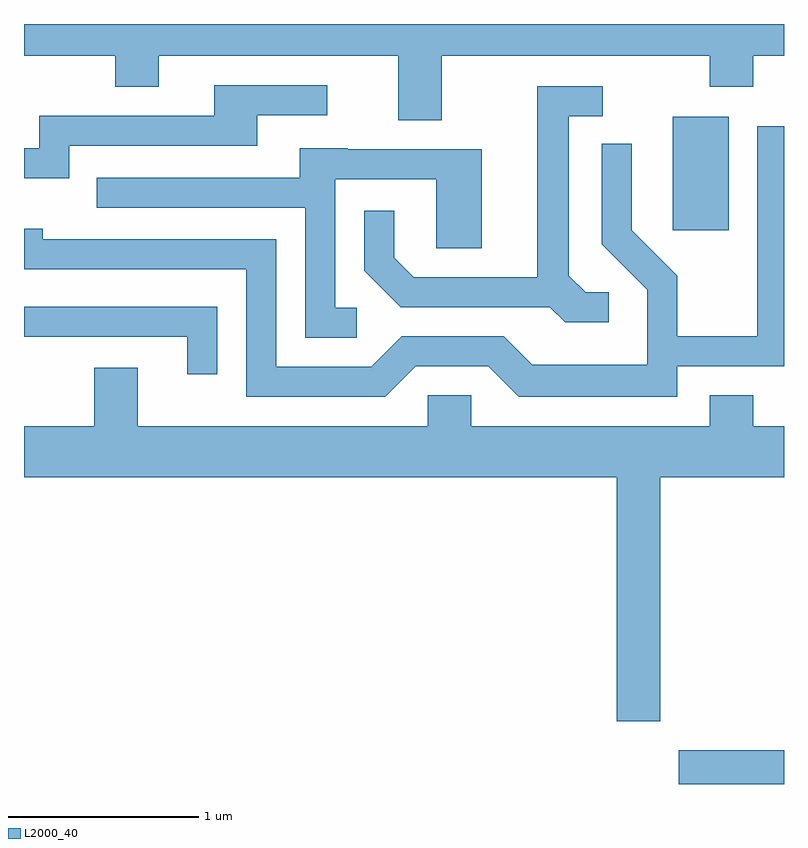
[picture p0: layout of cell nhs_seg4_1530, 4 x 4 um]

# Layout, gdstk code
import gdstk
lib = gdstk.Library(unit=1e-6, precision=1e-09)
def R(c, l, rs):  # rectangles x0, y0, x1, y1
    for r in rs: c.add(gdstk.rectangle(r[:2], r[2:], *l))
def P(c, l, *ps):  # polygons
    for p in ps: c.add(gdstk.Polygon(p, *l))
L2000_40 = (2000, 40)

nhs_seg4_1530 = lib.new_cell('nhs_seg4_1530')
R(nhs_seg4_1530, L2000_40, [(233.056,1321.982,233.611,1322.159), (233.026,1324.896,233.319,1325.494)])
P(nhs_seg4_1530, L2000_40, [(231.809,1325.816),(233.221,1325.816),(233.221,1325.651),(233.449,1325.651),(233.449,1325.816),(233.611,1325.816),(233.611,1325.982),(229.611,1325.982),(229.611,1325.816),(230.091,1325.816),(230.091,1325.651),(230.319,1325.651),(230.319,1325.816),(231.581,1325.816),(231.581,1325.476),(231.809,1325.476)],
  [(229.849,1325.341),(230.839,1325.341),(230.839,1325.501),(231.208,1325.501),(231.208,1325.659),(230.611,1325.659),(230.611,1325.499),(229.691,1325.499),(229.691,1325.329),(229.611,1325.329),(229.611,1325.171),(229.849,1325.171)],
  [(232.688,1324.569),(232.567,1324.569),(232.479,1324.657),(232.479,1325.496),(232.658,1325.496),(232.658,1325.654),(232.311,1325.654),(232.311,1324.649),(231.662,1324.649),(231.559,1324.752),(231.559,1324.998),(231.401,1324.998),(231.401,1324.684),(231.594,1324.491),(232.379,1324.491),(232.459,1324.411),(232.688,1324.411)],
  [(231.672,1324.181),(232.054,1324.181),(232.214,1324.021),(233.049,1324.021),(233.049,1324.181),(233.611,1324.181),(233.611,1325.444),(233.471,1325.444),(233.471,1324.339),(233.049,1324.339),(233.049,1324.657),(232.809,1324.897),(232.809,1325.353),(232.651,1325.353),(232.651,1324.824),(232.891,1324.584),(232.891,1324.189),(232.287,1324.189),(232.137,1324.339),(231.599,1324.339),(231.439,1324.179),(230.939,1324.179),(230.939,1324.849),(229.709,1324.849),(229.709,1324.904),(229.611,1324.904),(229.611,1324.691),(230.781,1324.691),(230.781,1324.021),(231.512,1324.021)],
  [(231.363,1324.489),(231.249,1324.489),(231.249,1325.166),(231.781,1325.166),(231.781,1324.801),(232.019,1324.801),(232.019,1325.324),(231.315,1325.324),(231.315,1325.329),(231.061,1325.329),(231.061,1325.174),(229.993,1325.174),(229.993,1325.016),(231.091,1325.016),(231.091,1324.331),(231.363,1324.331)],
  [(230.629,1324.494),(229.611,1324.494),(229.611,1324.336),(230.471,1324.336),(230.471,1324.138),(230.629,1324.138)],
  [(232.959,1323.596),(233.611,1323.596),(233.611,1323.864),(233.449,1323.864),(233.449,1324.029),(233.221,1324.029),(233.221,1323.864),(231.964,1323.864),(231.964,1324.029),(231.736,1324.029),(231.736,1323.864),(230.209,1323.864),(230.209,1324.174),(229.981,1324.174),(229.981,1323.864),(229.611,1323.864),(229.611,1323.596),(232.731,1323.596),(232.731,1322.311),(232.959,1322.311)])

lib.write_gds('nhs_seg4_1530.gds')
